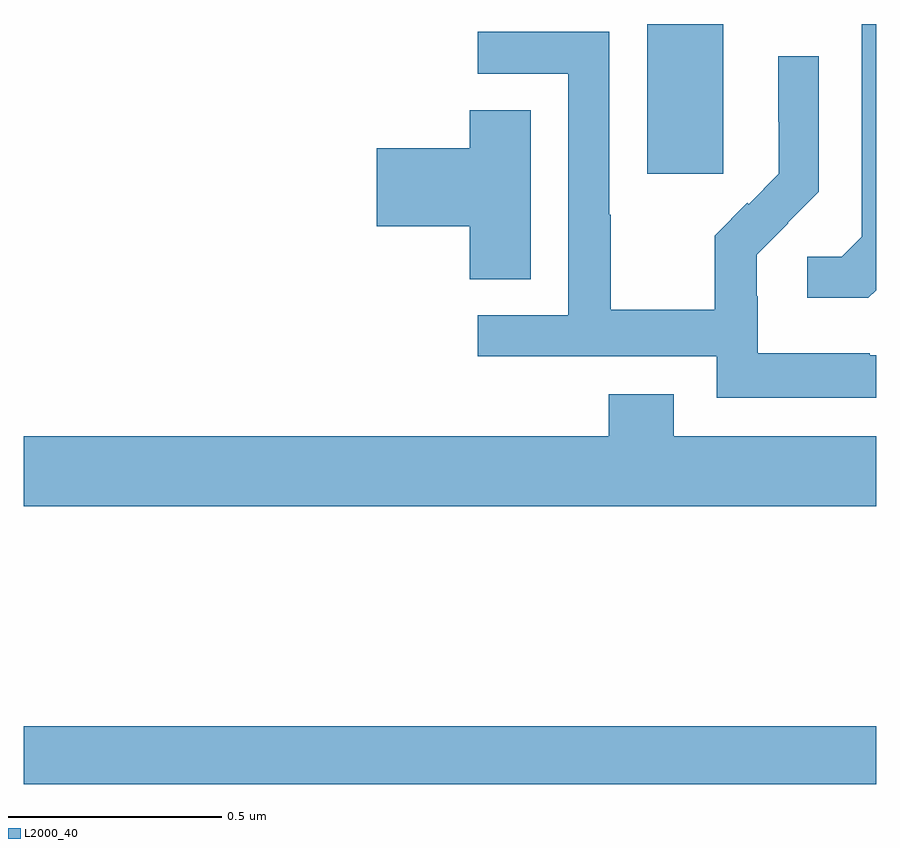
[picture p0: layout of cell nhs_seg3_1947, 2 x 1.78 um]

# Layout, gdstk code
import gdstk
lib = gdstk.Library(unit=1e-6, precision=1e-09)
def R(c, l, rs):  # rectangles x0, y0, x1, y1
    for r in rs: c.add(gdstk.rectangle(r[:2], r[2:], *l))
def P(c, l, *ps):  # polygons
    for p in ps: c.add(gdstk.Polygon(p, *l))
L2000_40 = (2000, 40)

nhs_seg3_1947 = lib.new_cell('nhs_seg3_1947')
R(nhs_seg3_1947, L2000_40, [(135,681.616,137,681.752), (136.463,683.049,136.642,683.4)])
P(nhs_seg3_1947, L2000_40, [(137,682.775),(137,683.4),(136.967,683.4),(136.967,682.901),(136.92,682.854),(136.839,682.854),(136.839,682.757),(136.982,682.757)],
  [(137,682.623),(136.985,682.623),(136.985,682.627),(136.722,682.627),(136.722,682.761),(136.72,682.761),(136.72,682.858),(136.794,682.932),(136.793,682.933),(136.866,683.006),(136.866,683.324),(136.77,683.324),(136.77,683.17),(136.772,683.17),(136.772,683.048),(136.701,682.977),(136.698,682.98),(136.621,682.903),(136.621,682.729),(136.377,682.729),(136.377,682.952),(136.374,682.952),(136.374,683.382),(136.065,683.382),(136.065,683.283),(136.278,683.283),(136.278,682.716),(136.065,682.716),(136.065,682.62),(136.626,682.62),(136.626,682.523),(137,682.523)],
  [(136.189,683.198),(136.046,683.198),(136.046,683.108),(135.828,683.108),(135.828,682.925),(136.046,682.925),(136.046,682.801),(136.189,682.801)],
  [(137,682.432),(136.525,682.432),(136.525,682.531),(136.373,682.531),(136.373,682.432),(135,682.432),(135,682.268),(137,682.268)])

lib.write_gds('nhs_seg3_1947.gds')
